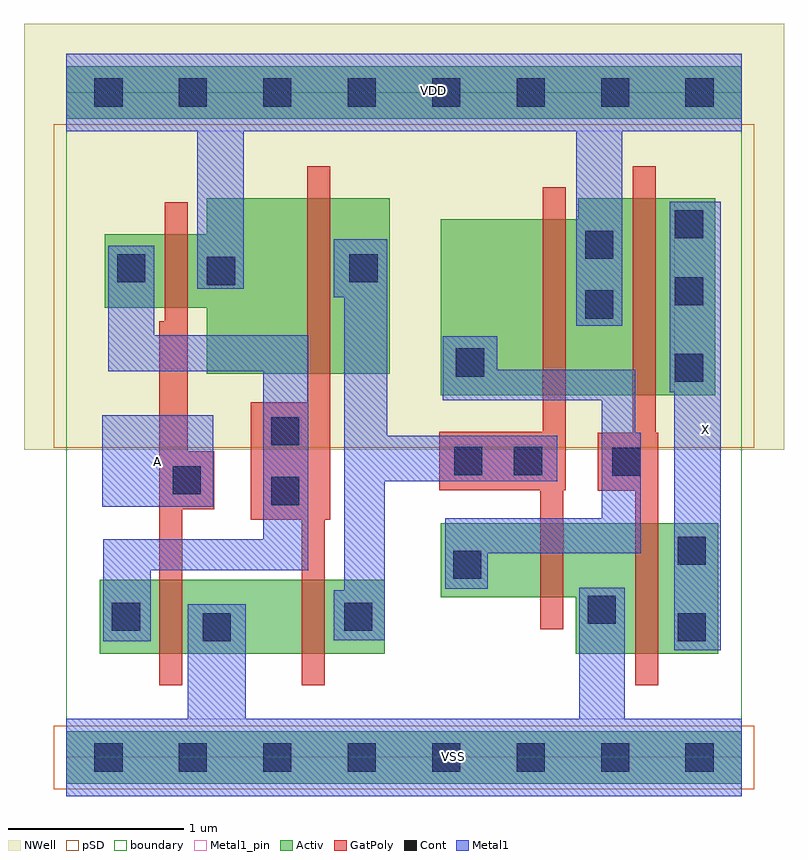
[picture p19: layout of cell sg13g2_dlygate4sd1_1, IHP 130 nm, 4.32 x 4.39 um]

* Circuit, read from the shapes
.subckt sg13g2_dlygate4sd1_1 A VDD VSS X
XM1 VSS A n1 VSS sg13_lv_nmos w=0.42u l=0.13u
XM2 n2 n1 VSS VSS sg13_lv_nmos w=0.42u l=0.13u
XM3 VSS n2 n3 VSS sg13_lv_nmos w=0.42u l=0.13u
XM4 X n3 VSS VSS sg13_lv_nmos w=0.74u l=0.13u
XM5 VDD A n1 VDD sg13_lv_pmos w=0.42u l=0.13u
XM6 n2 n1 VDD VDD sg13_lv_pmos w=1u l=0.13u
XM7 VDD n2 n3 VDD sg13_lv_pmos w=1u l=0.13u
XM8 X n3 VDD VDD sg13_lv_pmos w=1.12u l=0.13u
.ends

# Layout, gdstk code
import gdstk
lib = gdstk.Library(unit=1e-6, precision=1e-09)
def R(c, l, rs):  # rectangles x0, y0, x1, y1
    for r in rs: c.add(gdstk.rectangle(r[:2], r[2:], *l))
def A(c, l, x, y, w, h, nx, ny, dx, dy):  # array of equal rectangles
    R(c, l, [(x+i*dx, y+j*dy, x+i*dx+w, y+j*dy+h) for i in range(nx) for j in range(ny)])
def P(c, l, *ps):  # polygons
    for p in ps: c.add(gdstk.Polygon(p, *l))
Activ = (1, 0)
GatPoly = (5, 0)
Cont = (6, 0)
Metal1 = (8, 0)
Metal1_pin = (8, 2)
pSD = (14, 0)
NWell = (31, 0)
boundary = (189, 4)

sg13g2_dlygate4sd1_1 = lib.new_cell('sg13g2_dlygate4sd1_1')
R(sg13g2_dlygate4sd1_1, Activ, [(0,-0.15,3.84,0.15), (0.19,0.59,1.81,1.01), (0,3.63,3.84,3.93)])
P(sg13g2_dlygate4sd1_1, Activ, [(0.8,2.18),(0.8,2.555),(0.22,2.555),(0.22,2.975),(0.8,2.975),(0.8,3.18),(1.84,3.18),(1.84,2.18)],
  [(2.13,2.06),(2.13,3.06),(2.91,3.06),(2.91,3.18),(3.69,3.18),(3.69,2.06)],
  [(2.895,0.59),(2.895,0.91),(2.13,0.91),(2.13,1.33),(3.705,1.33),(3.705,0.59)])
P(sg13g2_dlygate4sd1_1, GatPoly, [(3.235,0.41),(3.235,1.515),(3.02,1.515),(3.02,1.845),(3.22,1.845),(3.22,3.36),(3.35,3.36),(3.35,1.845),(3.365,1.845),(3.365,0.41)],
  [(0.53,0.41),(0.53,2.48),(0.56,2.48),(0.56,3.155),(0.69,3.155),(0.69,1.74),(0.84,1.74),(0.84,1.41),(0.66,1.41),(0.66,0.41)],
  [(1.34,0.41),(1.34,1.35),(1.05,1.35),(1.05,2.02),(1.37,2.02),(1.37,3.36),(1.5,3.36),(1.5,1.35),(1.47,1.35),(1.47,0.41)],
  [(2.695,0.73),(2.695,1.52),(2.12,1.52),(2.12,1.85),(2.71,1.85),(2.71,3.24),(2.84,3.24),(2.84,1.52),(2.825,1.52),(2.825,0.73)])
A(sg13g2_dlygate4sd1_1, Cont, 0.16, -0.08, 0.16, 0.16, 8, 2, 0.48, 3.78)
R(sg13g2_dlygate4sd1_1, Cont, [(0.775,0.66,0.935,0.82), (3.475,0.66,3.635,0.82), (0.26,0.72,0.42,0.88), (1.58,0.72,1.74,0.88), (2.965,0.76,3.125,0.92), (2.2,1.015,2.36,1.175), (3.475,1.095,3.635,1.255), (1.165,1.435,1.325,1.595), (0.605,1.495,0.765,1.655), (3.105,1.6,3.265,1.76), (2.205,1.605,2.365,1.765), (2.545,1.605,2.705,1.765), (1.165,1.775,1.325,1.935), (3.46,2.135,3.62,2.295), (2.215,2.165,2.375,2.325), (2.95,2.495,3.11,2.655), (3.46,2.57,3.62,2.73), (0.8,2.685,0.96,2.845), (0.29,2.7,0.45,2.86), (1.61,2.7,1.77,2.86), (2.95,2.835,3.11,2.995), (3.46,2.95,3.62,3.11)])
R(sg13g2_dlygate4sd1_1, Metal1, [(0.205,1.425,0.835,1.945)])
P(sg13g2_dlygate4sd1_1, Metal1, [(0,-0.22),(0,0.22),(0.69,0.22),(0.69,0.87),(1.02,0.87),(1.02,0.22),(2.915,0.22),(2.915,0.965),(3.175,0.965),(3.175,0.22),(3.84,0.22),(3.84,-0.22)],
  [(2.9,2.455),(2.9,3.56),(1.01,3.56),(1.01,2.665),(0.745,2.665),(0.745,3.56),(0,3.56),(0,4),(3.84,4),(3.84,3.56),(3.16,3.56),(3.16,2.455)],
  [(3.455,0.61),(3.455,2.075),(3.43,2.075),(3.43,3.16),(3.72,3.16),(3.72,0.61)],
  [(0.21,0.66),(0.21,1.24),(1.12,1.24),(1.12,2.195),(0.24,2.195),(0.24,2.91),(0.5,2.91),(0.5,2.4),(1.375,2.4),(1.375,1.065),(0.48,1.065),(0.48,0.66)],
  [(2.155,0.96),(2.155,1.36),(3.045,1.36),(3.045,2.03),(2.14,2.03),(2.14,2.395),(2.45,2.395),(2.45,2.205),(3.235,2.205),(3.235,1.845),(3.265,1.845),(3.265,1.16),(2.395,1.16),(2.395,0.96)],
  [(1.52,0.665),(1.52,0.95),(1.58,0.95),(1.58,2.615),(1.52,2.615),(1.52,2.945),(1.825,2.945),(1.825,1.83),(2.79,1.83),(2.79,1.57),(1.81,1.57),(1.81,0.665)])
R(sg13g2_dlygate4sd1_1, Metal1_pin, [(0,-0.22,3.84,0.22), (3.455,0.61,3.72,3.16), (0.205,1.425,0.835,1.945), (0,3.56,3.84,4)])
R(sg13g2_dlygate4sd1_1, pSD, [(-0.07,-0.18,3.91,0.18), (-0.07,1.76,3.91,3.6)])
R(sg13g2_dlygate4sd1_1, NWell, [(-0.24,1.75,4.08,4.17)])
R(sg13g2_dlygate4sd1_1, boundary, [(0,0,3.84,3.78)])
sg13g2_dlygate4sd1_1.add(gdstk.Label('A', (0.52,1.68), layer=8, texttype=25))
sg13g2_dlygate4sd1_1.add(gdstk.Label('VSS', (2.2,0.005), layer=8, texttype=25))
sg13g2_dlygate4sd1_1.add(gdstk.Label('VDD', (2.085,3.79), layer=8, texttype=25))
sg13g2_dlygate4sd1_1.add(gdstk.Label('X', (3.635,1.865), layer=8, texttype=25))

lib.write_gds('sg13g2_dlygate4sd1_1.gds')
